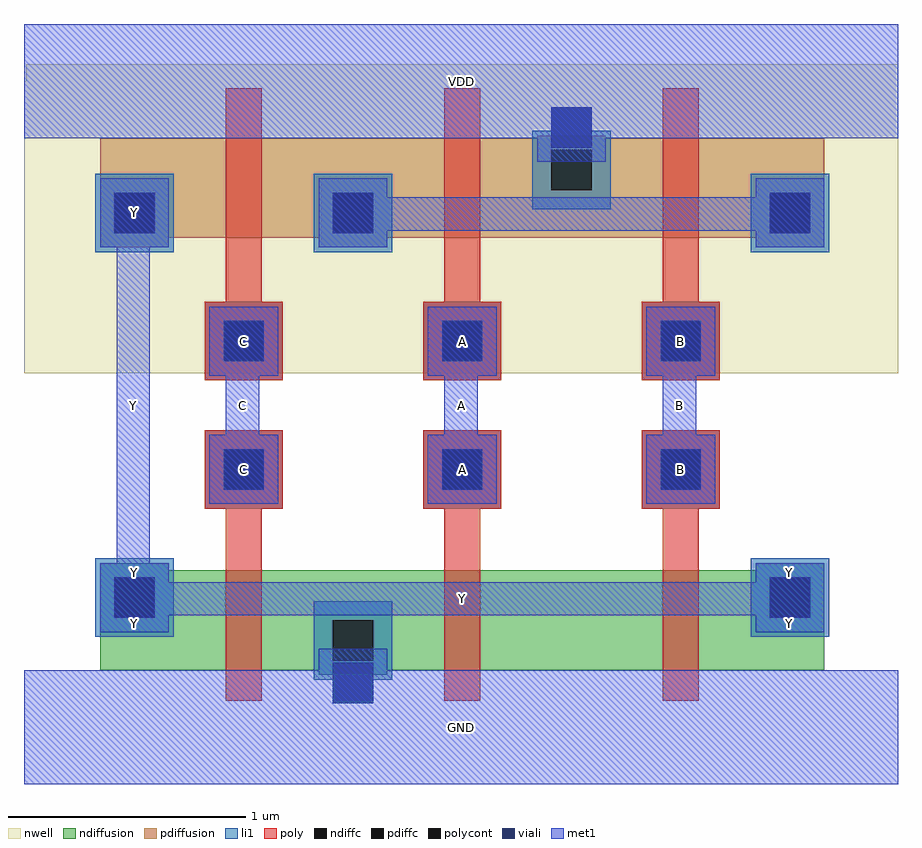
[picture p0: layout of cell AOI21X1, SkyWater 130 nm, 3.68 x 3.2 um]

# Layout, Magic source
magic
# Generated by librecell
tech sky130A
<< nwell >>
rect 0 149 368 272
rect 1 272 368 279
<< viali >>
rect 130 10 147 27
rect 38 46 55 63
rect 314 46 331 63
rect 84 100 101 117
rect 176 100 193 117
rect 268 100 285 117
rect 84 154 101 171
rect 176 154 193 171
rect 268 154 285 171
rect 38 208 55 225
rect 130 208 147 225
rect 314 208 331 225
rect 222 244 239 261
<< poly >>
rect 85 11 100 92
rect 76 92 109 125
rect 177 11 192 92
rect 168 92 201 125
rect 269 11 284 92
rect 260 92 293 125
rect 76 146 109 179
rect 85 179 100 269
rect 168 146 201 179
rect 177 179 192 269
rect 260 146 293 179
rect 269 179 284 269
<< properties >>
string FIXED_BBOX 0 0 368 272
<< li1 >>
rect 130 10 147 20
rect 122 20 155 53
rect 30 38 63 71
rect 306 38 339 71
rect 76 92 109 125
rect 168 92 201 125
rect 260 92 293 125
rect 76 146 109 179
rect 168 146 201 179
rect 260 146 293 179
rect 30 200 63 233
rect 122 200 155 233
rect 306 200 339 233
rect 214 218 247 251
rect 222 251 239 261
<< met1 >>
rect 0 -24 368 24
rect 124 24 153 33
rect 78 94 107 123
rect 85 123 99 148
rect 78 148 107 177
rect 170 94 199 123
rect 177 123 191 148
rect 170 148 199 177
rect 262 94 291 123
rect 269 123 283 148
rect 262 148 291 177
rect 32 40 61 47
rect 308 40 337 47
rect 32 47 337 61
rect 32 61 61 69
rect 308 61 337 69
rect 39 69 53 202
rect 32 202 61 231
rect 124 202 153 209
rect 308 202 337 209
rect 124 209 337 223
rect 124 223 153 231
rect 308 223 337 231
rect 216 238 245 248
rect 0 248 368 296
<< li1 >>
<< met1 >>
<< li1 >>
<< met1 >>
rect 0 -24 368 24
rect 78 94 107 123
rect 85 123 99 148
rect 78 148 107 177
rect 170 94 199 123
rect 177 123 191 148
rect 170 148 199 177
rect 262 94 291 123
rect 269 123 283 148
rect 262 148 291 177
rect 32 40 61 47
rect 308 40 337 47
rect 32 47 337 61
rect 32 61 61 69
rect 308 61 337 69
rect 39 69 53 202
rect 32 202 61 231
rect 0 248 368 296
<< ndiffusion >>
rect 124 22 153 24
rect 32 24 337 66
rect 32 66 61 69
rect 308 66 337 69
<< pdiffusion >>
rect 32 202 61 206
rect 124 202 153 206
rect 308 202 337 206
rect 32 206 337 248
rect 216 248 245 249
<< polycont >>
rect 84 100 101 117
rect 176 100 193 117
rect 268 100 285 117
rect 84 154 101 171
rect 176 154 193 171
rect 268 154 285 171
<< pdiffc >>
rect 38 208 55 225
rect 130 208 147 225
rect 314 208 331 225
rect 222 226 239 243
<< ndiffc >>
rect 130 28 147 45
rect 38 46 55 63
rect 314 46 331 63
<< labels >>
rlabel metal2 0 248 368 296 0 VDD
port 1 se
rlabel metal2 0 -24 368 24 0 GND
port 2 se
rlabel metal2 32 40 61 47 0 Y
port 3 se
rlabel metal2 308 40 337 47 0 Y
port 4 se
rlabel metal2 32 47 337 61 0 Y
port 5 se
rlabel metal2 32 61 61 69 0 Y
port 6 se
rlabel metal2 308 61 337 69 0 Y
port 7 se
rlabel metal2 39 69 53 202 0 Y
port 8 se
rlabel metal2 32 202 61 231 0 Y
port 9 se
rlabel metal2 78 94 107 123 0 C
port 10 se
rlabel metal2 85 123 99 148 0 C
port 11 se
rlabel metal2 78 148 107 177 0 C
port 12 se
rlabel metal2 262 94 291 123 0 B
port 13 se
rlabel metal2 269 123 283 148 0 B
port 14 se
rlabel metal2 262 148 291 177 0 B
port 15 se
rlabel metal2 170 94 199 123 0 A
port 16 se
rlabel metal2 177 123 191 148 0 A
port 17 se
rlabel metal2 170 148 199 177 0 A
port 18 se
<< end >>
